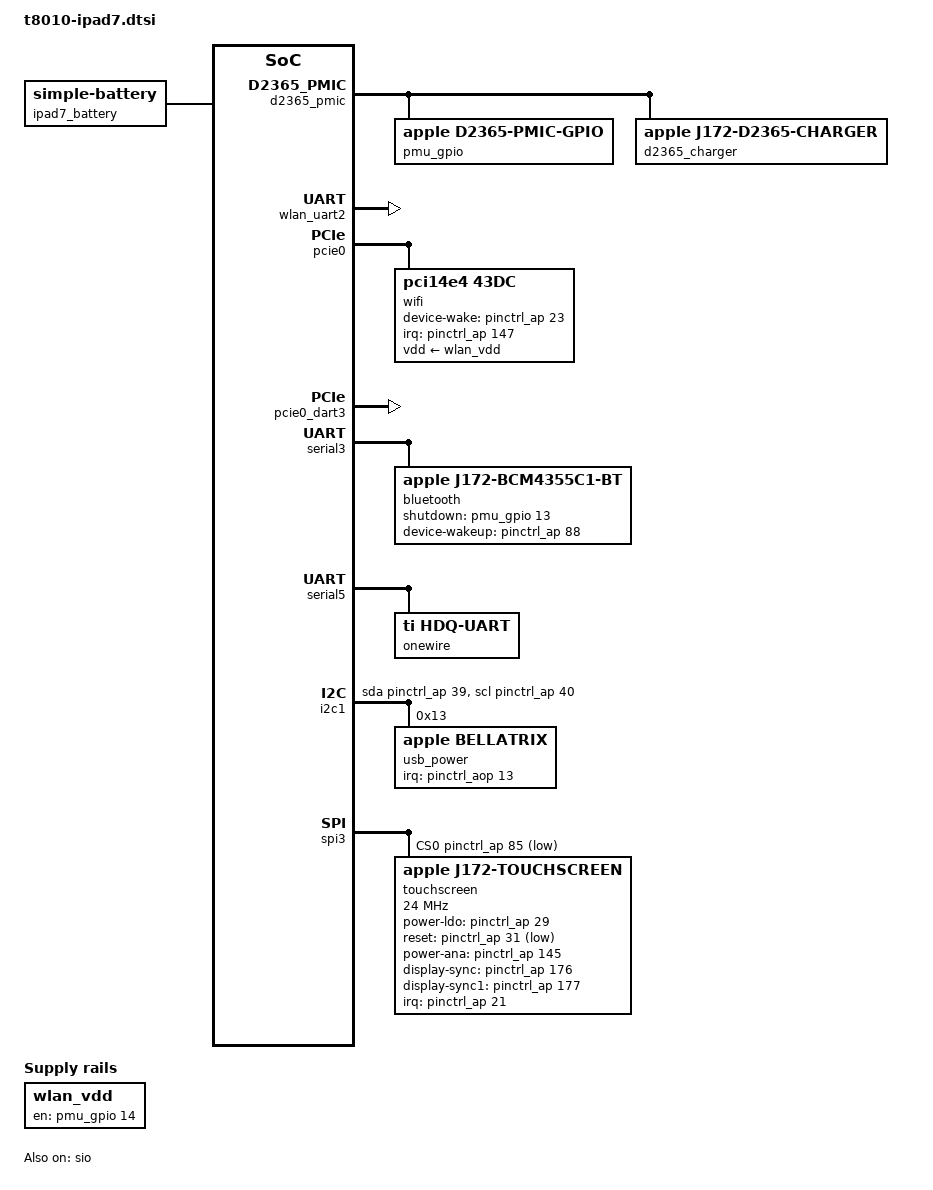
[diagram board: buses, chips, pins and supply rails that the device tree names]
// SPDX-License-Identifier: GPL-2.0+ OR MIT
/*
 * Apple iPad 7 common device tree
 *
 * Copyright (c) 2022, Konrad Dybcio <konradybcio@kernel.org>
 */

/*
 * The iPad 7 seems to be only an iteration over the iPad 6 with some
 * small changes, like the a bigger screen and 1 GiB of RAM more, hence
 * there is little to no differentiation between these 2 generations for
 * now.
 */
#include "t8010-ipad6.dtsi"

/ {
	aliases {
		bluetooth0 = &bluetooth;
	};

	ipad7_battery: battery {
		compatible = "simple-battery";
		charge-full-design-microamp-hours = <8557000>;
	};

	spi3_nclk: clock-spi3-nclk {
		compatible = "fixed-clock";
		#clock-cells = <0>;
		clock-frequency = <55384615>;
		clock-output-names = "spi3-nclk";
	};

	wlan_vdd: regulator-wlan-vdd {
		compatible = "regulator-fixed";
		regulator-name = "wlan-vdd";
		gpio = <&pmu_gpio 14 GPIO_ACTIVE_HIGH>;
		enable-active-high;
		off-on-delay-us = <100000>;
	};
};

&d2365_pmic {
	pmu_gpio: gpio {
		compatible = "apple,d2365-pmic-gpio";
		gpio-controller;
		#gpio-cells = <2>;
		gpio-reserved-ranges = <0 13>, <15 9>;
	};
};

&{/soc} {
	wlan_uart2: wlan-platform-control@20a0c8000 {
		compatible = "apple,t8010-wlan-uart-provider";
		reg = <0x2 0x0a0c8000 0x0 0x4000>;
		pinctrl-0 = <&wlan_uart2_pins>;
		pinctrl-names = "default";
		power-domains = <&ps_uart2>;
		status = "okay";
	};
};

&pcie0 {
	compatible = "apple,j172-pcie", "apple,t8010-pcie";
	iommu-map = <0x100 &pcie0_dart0 0 1>,
		    <0x200 &pcie0_dart3 0 1>;
	apple,preinit-phy-port-mask = <0x4>;
	pinctrl-0 = <&wifi_clkreq>;
	pinctrl-names = "default";

	pci@3,0 {
		device_type = "pci";
		reg = <0x1800 0x0 0x0 0x0 0x0>;
		bus-range = <2 2>;
		max-link-speed = <1>;
		apple,manual-availability-iommu = <&pcie0_dart3 0>;
		apple,link-retry-after-power-cycle;
		apple,hardware-trained-phy-lane;
		apple,endpoint-power-after-link-setup;
		apple,inherited-perst-before-link-setup;
		reset-gpios = <&pinctrl_ap 15 GPIO_ACTIVE_LOW>;

		#address-cells = <3>;
		#size-cells = <2>;
		ranges;

		wifi@0,0 {
			compatible = "pci14e4,43dc";
			reg = <0x20000 0x0 0x0 0x0 0x0>;
			interrupts-extended = <&pinctrl_ap 147 IRQ_TYPE_EDGE_FALLING>;
			interrupt-names = "host-wake";
			apple,wlan-uart = <&wlan_uart2>;
			device-wake-gpios = <&pinctrl_ap 23 GPIO_ACTIVE_HIGH>;
			vdd-supply = <&wlan_vdd>;
			apple,antenna-sku = "XX";
			brcm,board-type = "apple,rudderb";
		};
	};
};

&pcie0_dart3 {
	status = "okay";
};

&pinctrl_ap {
	battery_swi_pins: battery-swi-pins {
		pinmux = <APPLE_PINMUX(173, 1)>;
	};

	bluetooth_uart3_pins: bluetooth-uart3-pins {
		pinmux = <APPLE_PINMUX(134, 1)>,
			 <APPLE_PINMUX(135, 1)>,
			 <APPLE_PINMUX(136, 1)>,
			 <APPLE_PINMUX(137, 1)>;
	};

	i2c1_gpio_pins: i2c1-gpio-pins {
		pinmux = <APPLE_PINMUX(40, 0)>,
			 <APPLE_PINMUX(39, 0)>;
	};

	wifi_clkreq: wifi-clkreq-pins {
		pinmux = <APPLE_PINMUX(19, 1)>;
	};

	wlan_uart2_pins: wlan-uart2-pins {
		pinmux = <APPLE_PINMUX(148, 1)>,
			 <APPLE_PINMUX(150, 1)>;
	};

	touch_display_sync_active: touch-display-sync-active-pins {
		pinmux = <APPLE_PINMUX(176, 1)>,
			 <APPLE_PINMUX(177, 1)>;
	};
};

&serial3 {
	pinctrl-0 = <&bluetooth_uart3_pins>;
	pinctrl-names = "default";
	uart-has-rtscts;
	status = "okay";

	bluetooth: bluetooth {
		compatible = "apple,j172-bcm4355c1-bt",
			     "brcm,bcm4355c1-bt";
		current-speed = <115200>;
		max-speed = <3000000>;
		shutdown-gpios = <&pmu_gpio 13 GPIO_ACTIVE_HIGH>;
		device-wakeup-gpios = <&pinctrl_ap 88 GPIO_ACTIVE_HIGH>;
	};
};

&serial5 {
	pinctrl-0 = <&battery_swi_pins>;
	pinctrl-names = "default";
	status = "okay";

	onewire {
		compatible = "ti,hdq-uart";

		battery: fuel-gauge {
			compatible = "ti,bq27545-hdq";
			monitored-battery = <&ipad7_battery>;
		};
	};
};

&i2c1 {
	pinctrl-0 = <&i2c1_pins>;
	pinctrl-1 = <&i2c1_gpio_pins>;
	pinctrl-names = "default", "gpio";
	resets = <&ps_i2c1>;
	scl-gpios = <&pinctrl_ap 40 (GPIO_ACTIVE_HIGH | GPIO_OPEN_DRAIN)>;
	sda-gpios = <&pinctrl_ap 39 (GPIO_ACTIVE_HIGH | GPIO_OPEN_DRAIN)>;
	status = "okay";

	usb_power: usb-power@13 {
		compatible = "apple,bellatrix";
		reg = <0x13>;
		interrupt-parent = <&pinctrl_aop>;
		interrupts = <13 IRQ_TYPE_LEVEL_LOW>;
	};
};

&d2365_pmic {
	d2365_charger: charger@180 {
		compatible = "apple,j172-d2365-charger", "apple,d2365-charger";
		reg = <0x180 0x1e>, <0xa00 0x0d>;
		reg-names = "status", "control";
		power-supplies = <&usb_power>;
	};
};

&spi3 {
	cs-gpios = <&pinctrl_ap 85 GPIO_ACTIVE_LOW>;
	clocks = <&spi3_nclk>;
	dmas = <&sio 0x1a>;
	dma-names = "tx";
	status = "okay";

	touchscreen@0 {
		compatible = "apple,j172-touchscreen";
		reg = <0>;
		spi-max-frequency = <24000000>;
		spi-cpol;
		spi-cpha;
		spi-cs-setup-delay-ns = <10000>;
		spi-cs-hold-delay-ns = <10000>;
		spi-cs-inactive-delay-ns = <10000>;
		apple,z2-bpw16-min-len = <17>;
		apple,z2-no-init-ack;
		pinctrl-names = "display-sync-active";
		pinctrl-0 = <&touch_display_sync_active>;
		/* D10/D11 supplies are not present on J172. */
		interrupts-extended = <&pinctrl_ap 21 IRQ_TYPE_EDGE_FALLING>;
		power-ldo-gpios = <&pinctrl_ap 29 GPIO_ACTIVE_HIGH>;
		reset-gpios = <&pinctrl_ap 31 GPIO_ACTIVE_LOW>;
		power-ana-gpios = <&pinctrl_ap 145 GPIO_ACTIVE_HIGH>;
		display-sync-gpios = <&pinctrl_ap 176 GPIO_ACTIVE_HIGH>;
		display-sync1-gpios = <&pinctrl_ap 177 GPIO_ACTIVE_HIGH>;
		clocks = <&touchclk>;
		firmware-name = "apple/dfrmtfw-j172-k1f19-6.bin";
		touchscreen-size-x = <1620>;
		touchscreen-size-y = <2160>;
	};
};

&sio {
	status = "okay";
};
